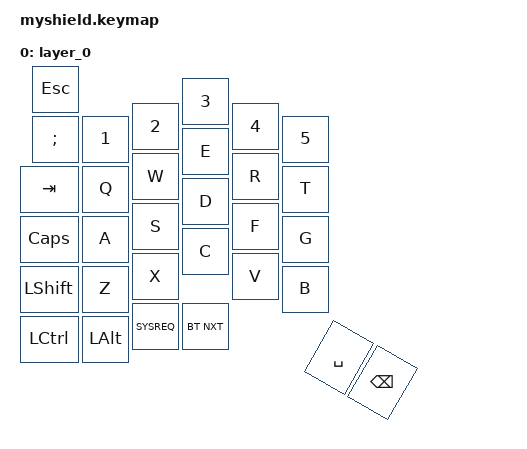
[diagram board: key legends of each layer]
#include <behaviors.dtsi>
#include <dt-bindings/zmk/bt.h>
#include <dt-bindings/zmk/keys.h>

/ {
    keymap {
        compatible = "zmk,keymap";

        layer_0 {
            bindings = <
&kp ESCAPE  &kp NUMBER_3  &kp NUMBER_2  &kp NUMBER_4  &kp SEMICOLON  &kp NUMBER_1  &kp N5  &kp E  &kp W  &kp R  &kp TAB  &kp Q  &kp T  &kp D  &kp S  &kp F  &kp CAPSLOCK  &kp A  &kp G  &kp C  &kp X  &kp V  &kp LEFT_SHIFT  &kp Z  &kp B  &kp SYSREQ  &bt BT_NXT  &kp LCTRL  &kp LEFT_ALT  &kp SPACE  &kp BACKSPACE
            >;
        };
    };
};
